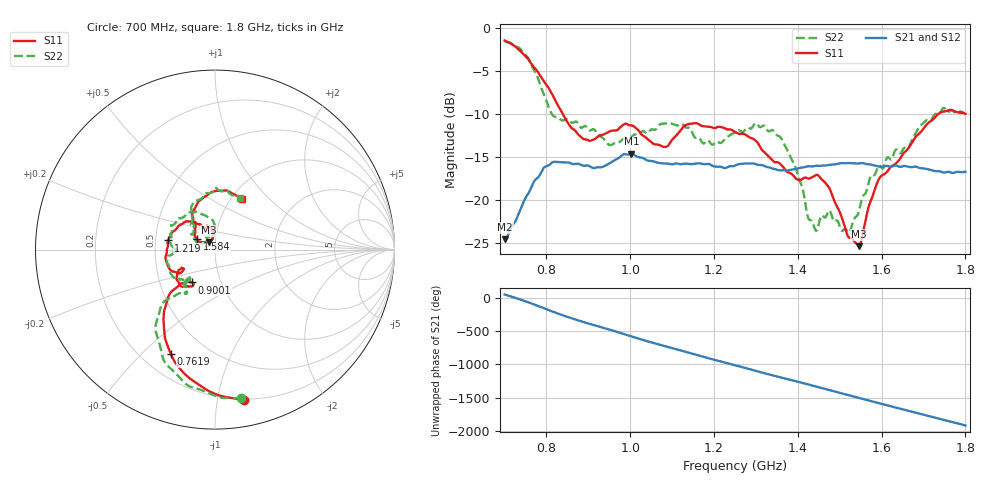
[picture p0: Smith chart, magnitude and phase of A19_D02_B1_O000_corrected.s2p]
! Created with skrf 1.9.0 (http://scikit-rf.org).
# Hz S RI R 50.0
!freq ReS11 ImS11 ReS21 ImS21 ReS12 ImS12 ReS22 ImS22
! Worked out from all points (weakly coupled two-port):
!   1601 points, 700 MHz to 1.8 GHz, reference 50 ohm
!   highest |S21| = -14.60 dB at 1.002 GHz (marker M1); lowest = -24.6 dB at 701.4 MHz (marker M2)
!   lowest |S11| = -25.4 dB at 1.546 GHz (marker M3), VSWR 1.11, Z = 46.5 + j3.87 ohm
!   |S11| at or under -10 dB: 839.1 MHz to 1.734 GHz (895.4 MHz wide, 69.6 % of centre)
!   |S22| runs from -23.8 to -1.5 dB; largest |S21 - S12| = 0.0034
!   S11 on the Smith chart (normalised r, x): 700 MHz: 0.20, -1.19; 761.9 MHz: 0.32, -0.62; 900.1 MHz: 0.73, -0.28; 1.219 GHz: 0.58, +0.06; 1.584 GHz: 0.81, +0.10; 1.8 GHz: 1.12, +0.70
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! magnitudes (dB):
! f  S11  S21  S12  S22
! 700 MHz  -1.4  -24.6  -24.4  -1.5
! 701.4 MHz  -1.4  -24.6  -24.2  -1.5
! 761.9 MHz  -4.0  -18.7  -18.7  -4.0
! 814.8 MHz  -7.8  -15.6  -15.7  -10.1
! 883.6 MHz  -12.7  -15.9  -15.8  -11.6
! 900.1 MHz  -13.1  -16.0  -16.0  -11.8
! 951.6 MHz  -12.0  -15.7  -15.7  -13.6
! 1.002 GHz  -11.3  -14.6  -14.7  -12.7
! 1.067 GHz  -13.6  -15.7  -15.6  -11.4
! 1.138 GHz  -11.2  -15.8  -15.7  -11.6
! 1.219 GHz  -11.5  -16.2  -16.2  -13.3
! 1.25 GHz  -12.1  -16.0  -15.9  -12.1
! 1.3 GHz  -13.1  -15.8  -15.8  -11.0
! 1.359 GHz  -15.8  -16.5  -16.5  -12.7
! 1.434 GHz  -17.4  -16.1  -16.0  -22.5
! 1.473 GHz  -18.4  -15.9  -15.9  -21.3
! 1.522 GHz  -24.4  -15.7  -15.7  -23.8
! 1.546 GHz  -25.4  -15.7  -15.7  -21.3
! 1.584 GHz  -18.7  -16.0  -16.0  -17.0
! 1.617 GHz  -16.4  -16.1  -16.0  -15.1
! 1.737 GHz  -9.9  -16.6  -16.7  -10.0
! 1.8 GHz  -10.0  -16.7  -16.7  -9.9
